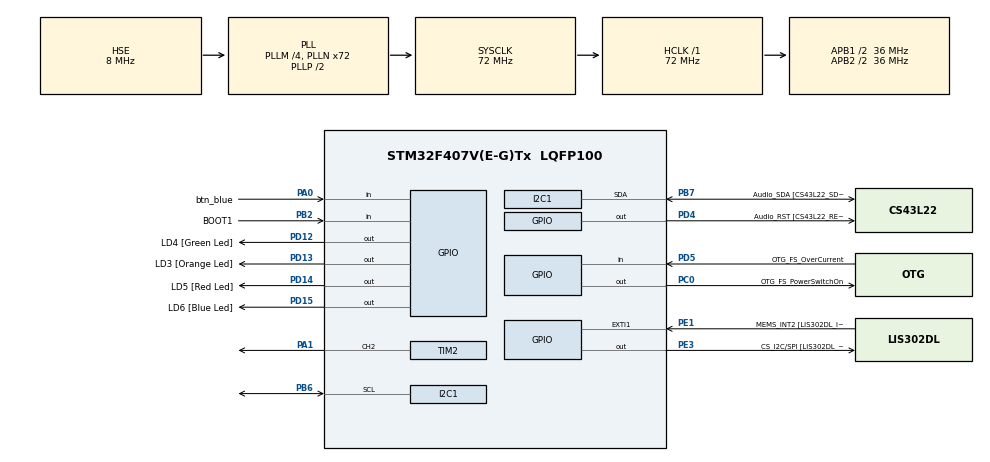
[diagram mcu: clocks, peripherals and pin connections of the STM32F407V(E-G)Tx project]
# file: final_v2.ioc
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Mcu.Family=STM32F4
Mcu.Name=STM32F407V(E-G)Tx
Mcu.Package=LQFP100
NVIC.PriorityGroup=NVIC_PRIORITYGROUP_4
NVIC.TIM7_IRQn=true\:15\:0\:false\:false\:true\:false\:true
NVIC.TimeBase=TIM7_IRQn
NVIC.TimeBaseIP=TIM7
PA0-WKUP.GPIO_Label=btn_blue
PA0-WKUP.Signal=GPIO_Input
PA1.Signal=S_TIM2_CH2
PA10.GPIO_Label=OTG_FS_ID
PA10.GPIO_Mode=GPIO_MODE_AF_PP
PA10.GPIO_PuPd=GPIO_NOPULL
PA10.GPIO_Speed=GPIO_SPEED_FREQ_LOW
PA10.Signal=USB_OTG_FS_ID
PA11.GPIO_Label=OTG_FS_DM
PA11.GPIO_Mode=GPIO_MODE_AF_PP
PA11.GPIO_PuPd=GPIO_NOPULL
PA11.GPIO_Speed=GPIO_SPEED_FREQ_LOW
PA11.Signal=USB_OTG_FS_DM
PA12.GPIO_Label=OTG_FS_DP
PA12.GPIO_Mode=GPIO_MODE_AF_PP
PA12.GPIO_PuPd=GPIO_NOPULL
PA12.GPIO_Speed=GPIO_SPEED_FREQ_LOW
PA12.Signal=USB_OTG_FS_DP
PA13.GPIO_Label=SWDIO
PA13.Mode=Serial_Wire
PA13.Signal=SYS_JTMS-SWDIO
PA14.GPIO_Label=SWCLK
PA14.Mode=Serial_Wire
PA14.Signal=SYS_JTCK-SWCLK
PA4.GPIO_Label=I2S3_WS [CS43L22_LRCK]
PA4.GPIO_Mode=GPIO_MODE_AF_PP
PA4.GPIO_PuPd=GPIO_NOPULL
PA4.GPIO_Speed=GPIO_SPEED_FREQ_LOW
PA4.Signal=I2S3_WS
PA5.GPIO_Label=SPI1_SCK [LIS302DL_SCL/SPC]
PA5.GPIO_Mode=GPIO_MODE_AF_PP
PA5.GPIO_PuPd=GPIO_NOPULL
PA5.GPIO_Speed=GPIO_SPEED_FREQ_LOW
PA5.Signal=SPI1_SCK
PA6.GPIO_Label=SPI1_MISO [LIS302DL_SDO]
PA6.GPIO_Mode=GPIO_MODE_AF_PP
PA6.GPIO_PuPd=GPIO_NOPULL
PA6.GPIO_Speed=GPIO_SPEED_FREQ_LOW
PA6.Signal=SPI1_MISO
PA7.GPIO_Label=SPI1_MOSI [LIS302DL_SDA/SDI/SDO]
PA7.GPIO_Mode=GPIO_MODE_AF_PP
PA7.GPIO_PuPd=GPIO_NOPULL
PA7.GPIO_Speed=GPIO_SPEED_FREQ_LOW
PA7.Signal=SPI1_MOSI
PA9.GPIO_Label=VBUS_FS
PA9.GPIO_Mode=GPIO_MODE_INPUT
PA9.GPIO_PuPd=GPIO_NOPULL
PA9.Signal=USB_OTG_FS_VBUS
PB10.GPIO_Label=CLK_IN [MP45DT02_CLK]
PB10.GPIO_Mode=GPIO_MODE_AF_PP
PB10.GPIO_PuPd=GPIO_NOPULL
PB10.GPIO_Speed=GPIO_SPEED_FREQ_LOW
PB10.Signal=I2S2_CK
PB2.GPIO_Label=BOOT1
PB2.GPIO_Mode=GPIO_MODE_INPUT
PB2.GPIO_PuPd=GPIO_NOPULL
PB2.Signal=GPIO_Input
PB3.GPIO_Label=SWO
PB3.Signal=SYS_JTDO-SWO
PB6.Mode=I2C
PB6.Signal=I2C1_SCL
PB7.GPIO_Label=Audio_SDA [CS43L22_SDA]
PB7.GPIO_Mode=GPIO_MODE_AF_OD
PB7.GPIO_Speed=GPIO_SPEED_FREQ_LOW
PB7.Mode=I2C
PB7.Signal=I2C1_SDA
PC0.GPIO_Label=OTG_FS_PowerSwitchOn
PC0.GPIO_PuPd=GPIO_NOPULL
PC0.GPIO_Speed=GPIO_SPEED_FREQ_LOW
PC0.PinState=GPIO_PIN_SET
PC0.Signal=GPIO_Output
PC10.GPIO_Label=I2S3_SCK [CS43L22_SCLK]
PC10.GPIO_Mode=GPIO_MODE_AF_PP
PC10.GPIO_PuPd=GPIO_NOPULL
PC10.GPIO_Speed=GPIO_SPEED_FREQ_LOW
PC10.Signal=I2S3_CK
PC12.GPIO_Label=I2S3_SD [CS43L22_SDIN]
PC12.GPIO_Mode=GPIO_MODE_AF_PP
PC12.GPIO_PuPd=GPIO_NOPULL
PC12.GPIO_Speed=GPIO_SPEED_FREQ_LOW
PC12.Signal=I2S3_SD
PC14-OSC32_IN.GPIO_Label=PC14-OSC32_IN
PC14-OSC32_IN.Signal=RCC_OSC32_IN
PC15-OSC32_OUT.GPIO_Label=PC15-OSC32_OUT
PC15-OSC32_OUT.Signal=RCC_OSC32_OUT
PC3.GPIO_Label=PDM_OUT [MP45DT02_DOUT]
PC3.GPIO_Mode=GPIO_MODE_AF_PP
PC3.GPIO_PuPd=GPIO_NOPULL
PC3.GPIO_Speed=GPIO_SPEED_FREQ_LOW
PC3.Signal=I2S2_SD
PC7.GPIO_Label=I2S3_MCK [CS43L22_MCLK]
PC7.GPIO_Mode=GPIO_MODE_AF_PP
PC7.GPIO_PuPd=GPIO_NOPULL
PC7.GPIO_Speed=GPIO_SPEED_FREQ_LOW
PC7.Signal=I2S3_MCK
PD12.GPIO_Label=LD4 [Green Led]
PD12.GPIO_PuPd=GPIO_NOPULL
PD12.GPIO_Speed=GPIO_SPEED_FREQ_LOW
PD12.Signal=GPIO_Output
PD13.GPIO_Label=LD3 [Orange Led]
PD13.GPIO_PuPd=GPIO_NOPULL
PD13.GPIO_Speed=GPIO_SPEED_FREQ_LOW
PD13.Signal=GPIO_Output
PD14.GPIO_Label=LD5 [Red Led]
PD14.GPIO_PuPd=GPIO_NOPULL
PD14.GPIO_Speed=GPIO_SPEED_FREQ_LOW
PD14.Signal=GPIO_Output
PD15.GPIO_Label=LD6 [Blue Led]
PD15.GPIO_PuPd=GPIO_NOPULL
PD15.GPIO_Speed=GPIO_SPEED_FREQ_LOW
PD15.Signal=GPIO_Output
PD4.GPIO_Label=Audio_RST [CS43L22_RESET]
PD4.GPIO_PuPd=GPIO_NOPULL
PD4.GPIO_Speed=GPIO_SPEED_FREQ_LOW
PD4.Signal=GPIO_Output
PD5.GPIO_Label=OTG_FS_OverCurrent
PD5.GPIO_Mode=GPIO_MODE_INPUT
PD5.GPIO_PuPd=GPIO_NOPULL
PD5.Signal=GPIO_Input
PE1.GPIO_Label=MEMS_INT2 [LIS302DL_INT2]
PE1.GPIO_ModeDefaultEXTI=GPIO_MODE_EVT_RISING
PE1.GPIO_PuPd=GPIO_NOPULL
PE1.Signal=GPXTI1
PE3.GPIO_Label=CS_I2C/SPI [LIS302DL_CS_I2C/SPI]
PE3.GPIO_PuPd=GPIO_NOPULL
PE3.GPIO_Speed=GPIO_SPEED_FREQ_LOW
PE3.Signal=GPIO_Output
PH0-OSC_IN.GPIO_Label=PH0-OSC_IN
PH0-OSC_IN.Mode=HSE-External-Oscillator
PH0-OSC_IN.Signal=RCC_OSC_IN
PH1-OSC_OUT.GPIO_Label=PH1-OSC_OUT
PH1-OSC_OUT.Mode=HSE-External-Oscillator
PH1-OSC_OUT.Signal=RCC_OSC_OUT
ProjectManager.HeapSize=0x200
ProjectManager.StackSize=0x400
ProjectManager.TargetToolchain=STM32CubeIDE
RCC.48MHZClocksFreq_Value=20571428.57142857
RCC.AHBFreq_Value=72000000
RCC.APB1CLKDivider=RCC_HCLK_DIV2
RCC.APB1Freq_Value=36000000
RCC.APB1TimFreq_Value=72000000
RCC.APB2CLKDivider=RCC_HCLK_DIV2
RCC.APB2Freq_Value=36000000
RCC.APB2TimFreq_Value=72000000
RCC.CortexFreq_Value=72000000
RCC.HCLKFreq_Value=72000000
RCC.HSE_VALUE=8000000
RCC.HSI_VALUE=16000000
RCC.LSE_VALUE=32768
RCC.PLLM=4
RCC.PLLN=72
RCC.PLLQ=7
RCC.PLLSourceVirtual=RCC_PLLSOURCE_HSE
RCC.SYSCLKFreq_VALUE=72000000
RCC.SYSCLKSource=RCC_SYSCLKSOURCE_PLLCLK
RCC.VCOOutputFreq_Value=144000000
SH.S_TIM2_CH2.0=TIM2_CH2,PWM Generation2 CH2
TIM2.Channel-PWM\ Generation2\ CH2=TIM_CHANNEL_2
TIM2.Period=100
TIM2.Prescaler=127
VP_SYS_VS_tim7.Mode=TIM7
VP_TIM2_VS_ClockSourceINT.Mode=Internal
board=STM32F407G-DISC1

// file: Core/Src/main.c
/* USER CODE BEGIN Header */
/**
  ******************************************************************************
  * @file           : main.c
  * @brief          : Main program body
  ******************************************************************************
  * @attention
  *
  * <h2><center>&copy; Copyright (c) 2020 STMicroelectronics.
  * All rights reserved.</center></h2>
  *
  * This software component is licensed by ST under BSD 3-Clause license,
  * the "License"; You may not use this file except in compliance with the
  * License. You may obtain a copy of the License at:
  *                        opensource.org/licenses/BSD-3-Clause
  *
  ******************************************************************************
  */
/* USER CODE END Header */
#include "main.h"

/* USER CODE BEGIN Includes */
#include "i2c-lcd.h"
#include "stdio.h"
#include "stdlib.h"
#include "FreeRTOS.h"
#include "task.h"
#include "queue.h"

/* USER CODE END Includes */

I2C_HandleTypeDef hi2c1;

TIM_HandleTypeDef htim2;

void SystemClock_Config(void);
static void MX_GPIO_Init(void);
static void MX_I2C1_Init(void);
static void MX_TIM2_Init(void);
/* USER CODE BEGIN PFP */
void Time_show(void);
void Buzzer_ring(void);
void Button_click(void);
/* USER CODE END PFP */

/* USER CODE BEGIN 0 */

#define DS3231_ADDRESS 0xD0
QueueHandle_t MsgQueue = NULL;
// Convert normal decimal numbers to binary coded decimal
uint8_t decToBcd(int val)
{
  return (uint8_t)( (val/10*16) + (val%10) );
}
// Convert binary coded decimal to normal decimal numbers
int bcdToDec(uint8_t val)
{
  return (int)( (val/16*10) + (val%16) );
}

typedef struct {
	uint8_t seconds;
	uint8_t minutes;
	uint8_t hour;
	uint8_t dayofweek;
	uint8_t dayofmonth;
	uint8_t month;
	uint8_t year;
} TIME;

TIME time;

// function to set time

void Set_Time (uint8_t sec, uint8_t min, uint8_t hour, uint8_t dow, uint8_t dom, uint8_t month, uint8_t year)
{
	uint8_t set_time[7];
	set_time[0] = decToBcd(sec);
	set_time[1] = decToBcd(min);
	set_time[2] = decToBcd(hour);
	set_time[3] = decToBcd(dow);
	set_time[4] = decToBcd(dom);
	set_time[5] = decToBcd(month);
	set_time[6] = decToBcd(year);

	HAL_I2C_Mem_Write(&hi2c1, DS3231_ADDRESS, 0x00, 1, set_time, 7, 1000);
}

void Get_Time (void)
{
	uint8_t get_time[7];
	HAL_I2C_Mem_Read(&hi2c1, DS3231_ADDRESS, 0x00, 1, get_time, 7, 1000);
	time.seconds = bcdToDec(get_time[0]);
	time.minutes = bcdToDec(get_time[1]);
	time.hour = bcdToDec(get_time[2]);
	time.dayofweek = bcdToDec(get_time[3]);
	time.dayofmonth = bcdToDec(get_time[4]);
	time.month = bcdToDec(get_time[5]);
	time.year = bcdToDec(get_time[6]);
}

int Get_Temp (void)
{
	uint8_t temp[2];

	HAL_I2C_Mem_Read(&hi2c1, DS3231_ADDRESS, 0x11, 1, temp, 2, 1000);
	return ((temp[0])+(temp[1]>>6)/4.0);
}

void force_temp_conv (void)
{
	uint8_t status=0;
	uint8_t control=0;
	HAL_I2C_Mem_Read(&hi2c1, DS3231_ADDRESS, 0x0F, 1, &status, 1, 100);  // read status register
	if (!(status&0x04))
	{
		HAL_I2C_Mem_Read(&hi2c1, DS3231_ADDRESS, 0x0E, 1, &control, 1, 100);  // read control register
		HAL_I2C_Mem_Write(&hi2c1, DS3231_ADDRESS, 0x0E, 1, (uint8_t *)(control|(0x20)), 1, 100);
	}
}

int TEMP;
char buffer[15];

/* USER CODE END 0 */

int main(void)
{

  /* MCU Configuration--------------------------------------------------------*/

  /* Reset of all peripherals, Initializes the Flash interface and the Systick. */
  HAL_Init();

  /* Configure the system clock */
  SystemClock_Config();

  /* Initialize all configured peripherals */
  MX_GPIO_Init();
  MX_I2C1_Init();
  MX_TIM2_Init();
  /* USER CODE BEGIN 2 */
  HAL_TIM_PWM_Start(&htim2, TIM_CHANNEL_2);
  lcd_init ();

  Set_Time(55, 59, 7, 5, 6, 6, 23);
  MsgQueue = xQueueCreate(1, sizeof(unsigned int));

  xTaskCreate(Time_show, "Time_show", 1000, NULL, 1, NULL);
  xTaskCreate(Buzzer_ring, "Buzzer_ring", 1000, NULL, 1, NULL);
  xTaskCreate(Button_click, "Button_click", 1000, NULL, 1, NULL);
  vTaskStartScheduler();
  /* USER CODE END 2 */

  /* Infinite loop */
  while (1)
  {

    /* USER CODE BEGIN 3 */

//	  Get_Time();
//	  if(time.minutes == 0 && time.seconds == 0 )
//	  {
//			  htim2.Instance->CCR1 = 255;
//			  HAL_Delay(500);
//			  htim2.Instance->CCR1 = 0;
//	  }
//
//	  sprintf (buffer, "%02d:%02d:%02d", time.hour, time.minutes, time.seconds);
//	  lcd_put_cur (0,0);
//	  lcd_send_string(buffer);
//
//	  sprintf (buffer, "%02d-%02d-20%02d", time.dayofmonth, time.month, time.year);
//	  lcd_put_cur(1, 0);
//	  lcd_send_string(buffer);
//
//	  force_temp_conv();
//
//	  TEMP = Get_Temp();
//
//	  lcd_put_cur(0, 10);
//
//	  sprintf (buffer, "%d", TEMP);
//
//	  lcd_send_string(buffer);
//
//	  HAL_Delay(500);
  }
  /* USER CODE END 3 */
}

void SystemClock_Config(void)
{
  RCC_OscInitTypeDef RCC_OscInitStruct = {0};
  RCC_ClkInitTypeDef RCC_ClkInitStruct = {0};

  /** Configure the main internal regulator output voltage
  */
  __HAL_RCC_PWR_CLK_ENABLE();
  __HAL_PWR_VOLTAGESCALING_CONFIG(PWR_REGULATOR_VOLTAGE_SCALE1);
  /** Initializes the RCC Oscillators according to the specified parameters
  * in the RCC_OscInitTypeDef structure.
  */
  RCC_OscInitStruct.OscillatorType = RCC_OSCILLATORTYPE_HSE;
  RCC_OscInitStruct.HSEState = RCC_HSE_ON;
  RCC_OscInitStruct.PLL.PLLState = RCC_PLL_ON;
  RCC_OscInitStruct.PLL.PLLSource = RCC_PLLSOURCE_HSE;
  RCC_OscInitStruct.PLL.PLLM = 4;
  RCC_OscInitStruct.PLL.PLLN = 72;
  RCC_OscInitStruct.PLL.PLLP = RCC_PLLP_DIV2;
  RCC_OscInitStruct.PLL.PLLQ = 7;
  if (HAL_RCC_OscConfig(&RCC_OscInitStruct) != HAL_OK)
  {
    Error_Handler();
  }
  /** Initializes the CPU, AHB and APB buses clocks
  */
  RCC_ClkInitStruct.ClockType = RCC_CLOCKTYPE_HCLK|RCC_CLOCKTYPE_SYSCLK
                              |RCC_CLOCKTYPE_PCLK1|RCC_CLOCKTYPE_PCLK2;
  RCC_ClkInitStruct.SYSCLKSource = RCC_SYSCLKSOURCE_PLLCLK;
  RCC_ClkInitStruct.AHBCLKDivider = RCC_SYSCLK_DIV1;
  RCC_ClkInitStruct.APB1CLKDivider = RCC_HCLK_DIV2;
  RCC_ClkInitStruct.APB2CLKDivider = RCC_HCLK_DIV2;

  if (HAL_RCC_ClockConfig(&RCC_ClkInitStruct, FLASH_LATENCY_2) != HAL_OK)
  {
    Error_Handler();
  }
}

static void MX_I2C1_Init(void)
{

  hi2c1.Instance = I2C1;
  hi2c1.Init.ClockSpeed = 100000;
  hi2c1.Init.DutyCycle = I2C_DUTYCYCLE_2;
  hi2c1.Init.OwnAddress1 = 0;
  hi2c1.Init.AddressingMode = I2C_ADDRESSINGMODE_7BIT;
  hi2c1.Init.DualAddressMode = I2C_DUALADDRESS_DISABLE;
  hi2c1.Init.OwnAddress2 = 0;
  hi2c1.Init.GeneralCallMode = I2C_GENERALCALL_DISABLE;
  hi2c1.Init.NoStretchMode = I2C_NOSTRETCH_DISABLE;
  if (HAL_I2C_Init(&hi2c1) != HAL_OK)
  {
    Error_Handler();
  }

}

static void MX_TIM2_Init(void)
{

  TIM_ClockConfigTypeDef sClockSourceConfig = {0};
  TIM_MasterConfigTypeDef sMasterConfig = {0};
  TIM_OC_InitTypeDef sConfigOC = {0};

  htim2.Instance = TIM2;
  htim2.Init.Prescaler = 127;
  htim2.Init.CounterMode = TIM_COUNTERMODE_UP;
  htim2.Init.Period = 100;
  htim2.Init.ClockDivision = TIM_CLOCKDIVISION_DIV1;
  htim2.Init.AutoReloadPreload = TIM_AUTORELOAD_PRELOAD_DISABLE;
  if (HAL_TIM_Base_Init(&htim2) != HAL_OK)
  {
    Error_Handler();
  }
  sClockSourceConfig.ClockSource = TIM_CLOCKSOURCE_INTERNAL;
  if (HAL_TIM_ConfigClockSource(&htim2, &sClockSourceConfig) != HAL_OK)
  {
    Error_Handler();
  }
  if (HAL_TIM_PWM_Init(&htim2) != HAL_OK)
  {
    Error_Handler();
  }
  sMasterConfig.MasterOutputTrigger = TIM_TRGO_RESET;
  sMasterConfig.MasterSlaveMode = TIM_MASTERSLAVEMODE_DISABLE;
  if (HAL_TIMEx_MasterConfigSynchronization(&htim2, &sMasterConfig) != HAL_OK)
  {
    Error_Handler();
  }
  sConfigOC.OCMode = TIM_OCMODE_PWM1;
  sConfigOC.Pulse = 0;
  sConfigOC.OCPolarity = TIM_OCPOLARITY_HIGH;
  sConfigOC.OCFastMode = TIM_OCFAST_DISABLE;
  if (HAL_TIM_PWM_ConfigChannel(&htim2, &sConfigOC, TIM_CHANNEL_2) != HAL_OK)
  {
    Error_Handler();
  }
  HAL_TIM_MspPostInit(&htim2);

}

static void MX_GPIO_Init(void)
{
  GPIO_InitTypeDef GPIO_InitStruct = {0};

  /* GPIO Ports Clock Enable */
  __HAL_RCC_GPIOE_CLK_ENABLE();
  __HAL_RCC_GPIOC_CLK_ENABLE();
  __HAL_RCC_GPIOH_CLK_ENABLE();
  __HAL_RCC_GPIOA_CLK_ENABLE();
  __HAL_RCC_GPIOB_CLK_ENABLE();
  __HAL_RCC_GPIOD_CLK_ENABLE();

  /*Configure GPIO pin Output Level */
  HAL_GPIO_WritePin(CS_I2C_SPI_GPIO_Port, CS_I2C_SPI_Pin, GPIO_PIN_RESET);

  /*Configure GPIO pin Output Level */
  HAL_GPIO_WritePin(OTG_FS_PowerSwitchOn_GPIO_Port, OTG_FS_PowerSwitchOn_Pin, GPIO_PIN_SET);

  /*Configure GPIO pin Output Level */
  HAL_GPIO_WritePin(GPIOD, LD4_Pin|LD3_Pin|LD5_Pin|LD6_Pin
                          |Audio_RST_Pin, GPIO_PIN_RESET);

  /*Configure GPIO pin : CS_I2C_SPI_Pin */
  GPIO_InitStruct.Pin = CS_I2C_SPI_Pin;
  GPIO_InitStruct.Mode = GPIO_MODE_OUTPUT_PP;
  GPIO_InitStruct.Pull = GPIO_NOPULL;
  GPIO_InitStruct.Speed = GPIO_SPEED_FREQ_LOW;
  HAL_GPIO_Init(CS_I2C_SPI_GPIO_Port, &GPIO_InitStruct);

  /*Configure GPIO pin : OTG_FS_PowerSwitchOn_Pin */
  GPIO_InitStruct.Pin = OTG_FS_PowerSwitchOn_Pin;
  GPIO_InitStruct.Mode = GPIO_MODE_OUTPUT_PP;
  GPIO_InitStruct.Pull = GPIO_NOPULL;
  GPIO_InitStruct.Speed = GPIO_SPEED_FREQ_LOW;
  HAL_GPIO_Init(OTG_FS_PowerSwitchOn_GPIO_Port, &GPIO_InitStruct);

  /*Configure GPIO pin : PDM_OUT_Pin */
  GPIO_InitStruct.Pin = PDM_OUT_Pin;
  GPIO_InitStruct.Mode = GPIO_MODE_AF_PP;
  GPIO_InitStruct.Pull = GPIO_NOPULL;
  GPIO_InitStruct.Speed = GPIO_SPEED_FREQ_LOW;
  GPIO_InitStruct.Alternate = GPIO_AF5_SPI2;
  HAL_GPIO_Init(PDM_OUT_GPIO_Port, &GPIO_InitStruct);

  /*Configure GPIO pin : btn_blue_Pin */
  GPIO_InitStruct.Pin = btn_blue_Pin;
  GPIO_InitStruct.Mode = GPIO_MODE_INPUT;
  GPIO_InitStruct.Pull = GPIO_NOPULL;
  HAL_GPIO_Init(btn_blue_GPIO_Port, &GPIO_InitStruct);

  /*Configure GPIO pin : I2S3_WS_Pin */
  GPIO_InitStruct.Pin = I2S3_WS_Pin;
  GPIO_InitStruct.Mode = GPIO_MODE_AF_PP;
  GPIO_InitStruct.Pull = GPIO_NOPULL;
  GPIO_InitStruct.Speed = GPIO_SPEED_FREQ_LOW;
  GPIO_InitStruct.Alternate = GPIO_AF6_SPI3;
  HAL_GPIO_Init(I2S3_WS_GPIO_Port, &GPIO_InitStruct);

  /*Configure GPIO pins : SPI1_SCK_Pin SPI1_MISO_Pin SPI1_MOSI_Pin */
  GPIO_InitStruct.Pin = SPI1_SCK_Pin|SPI1_MISO_Pin|SPI1_MOSI_Pin;
  GPIO_InitStruct.Mode = GPIO_MODE_AF_PP;
  GPIO_InitStruct.Pull = GPIO_NOPULL;
  GPIO_InitStruct.Speed = GPIO_SPEED_FREQ_LOW;
  GPIO_InitStruct.Alternate = GPIO_AF5_SPI1;
  HAL_GPIO_Init(GPIOA, &GPIO_InitStruct);

  /*Configure GPIO pin : BOOT1_Pin */
  GPIO_InitStruct.Pin = BOOT1_Pin;
  GPIO_InitStruct.Mode = GPIO_MODE_INPUT;
  GPIO_InitStruct.Pull = GPIO_NOPULL;
  HAL_GPIO_Init(BOOT1_GPIO_Port, &GPIO_InitStruct);

  /*Configure GPIO pin : CLK_IN_Pin */
  GPIO_InitStruct.Pin = CLK_IN_Pin;
  GPIO_InitStruct.Mode = GPIO_MODE_AF_PP;
  GPIO_InitStruct.Pull = GPIO_NOPULL;
  GPIO_InitStruct.Speed = GPIO_SPEED_FREQ_LOW;
  GPIO_InitStruct.Alternate = GPIO_AF5_SPI2;
  HAL_GPIO_Init(CLK_IN_GPIO_Port, &GPIO_InitStruct);

  /*Configure GPIO pins : LD4_Pin LD3_Pin LD5_Pin LD6_Pin
                           Audio_RST_Pin */
  GPIO_InitStruct.Pin = LD4_Pin|LD3_Pin|LD5_Pin|LD6_Pin
                          |Audio_RST_Pin;
  GPIO_InitStruct.Mode = GPIO_MODE_OUTPUT_PP;
  GPIO_InitStruct.Pull = GPIO_NOPULL;
  GPIO_InitStruct.Speed = GPIO_SPEED_FREQ_LOW;
  HAL_GPIO_Init(GPIOD, &GPIO_InitStruct);

  /*Configure GPIO pins : I2S3_MCK_Pin I2S3_SCK_Pin I2S3_SD_Pin */
  GPIO_InitStruct.Pin = I2S3_MCK_Pin|I2S3_SCK_Pin|I2S3_SD_Pin;
  GPIO_InitStruct.Mode = GPIO_MODE_AF_PP;
  GPIO_InitStruct.Pull = GPIO_NOPULL;
  GPIO_InitStruct.Speed = GPIO_SPEED_FREQ_LOW;
  GPIO_InitStruct.Alternate = GPIO_AF6_SPI3;
  HAL_GPIO_Init(GPIOC, &GPIO_InitStruct);

  /*Configure GPIO pin : VBUS_FS_Pin */
  GPIO_InitStruct.Pin = VBUS_FS_Pin;
  GPIO_InitStruct.Mode = GPIO_MODE_INPUT;
  GPIO_InitStruct.Pull = GPIO_NOPULL;
  HAL_GPIO_Init(VBUS_FS_GPIO_Port, &GPIO_InitStruct);

  /*Configure GPIO pins : OTG_FS_ID_Pin OTG_FS_DM_Pin OTG_FS_DP_Pin */
  GPIO_InitStruct.Pin = OTG_FS_ID_Pin|OTG_FS_DM_Pin|OTG_FS_DP_Pin;
  GPIO_InitStruct.Mode = GPIO_MODE_AF_PP;
  GPIO_InitStruct.Pull = GPIO_NOPULL;
  GPIO_InitStruct.Speed = GPIO_SPEED_FREQ_LOW;
  GPIO_InitStruct.Alternate = GPIO_AF10_OTG_FS;
  HAL_GPIO_Init(GPIOA, &GPIO_InitStruct);

  /*Configure GPIO pin : OTG_FS_OverCurrent_Pin */
  GPIO_InitStruct.Pin = OTG_FS_OverCurrent_Pin;
  GPIO_InitStruct.Mode = GPIO_MODE_INPUT;
  GPIO_InitStruct.Pull = GPIO_NOPULL;
  HAL_GPIO_Init(OTG_FS_OverCurrent_GPIO_Port, &GPIO_InitStruct);

  /*Configure GPIO pin : MEMS_INT2_Pin */
  GPIO_InitStruct.Pin = MEMS_INT2_Pin;
  GPIO_InitStruct.Mode = GPIO_MODE_EVT_RISING;
  GPIO_InitStruct.Pull = GPIO_NOPULL;
  HAL_GPIO_Init(MEMS_INT2_GPIO_Port, &GPIO_InitStruct);

}

/* USER CODE BEGIN 4 */
void Time_show(void)
{
	while(1)
	{
		unsigned int task = 0;
		Get_Time();
		if(time.minutes == 0 && time.seconds == 0 )
		{
			  task = 1;
			  xQueueSend(MsgQueue,(int *) &task, 1);
		}
		if(time.minutes == 30 && time.seconds == 0 && time.hour == 7 )
		{
			  task = 2;
			  xQueueSend(MsgQueue,(int *) &task, 1);
		}
		sprintf (buffer, "%02d:%02d:%02d", time.hour, time.minutes, time.seconds);
		lcd_put_cur (0,0);
		lcd_send_string(buffer);

		sprintf (buffer, "%02d-%02d-20%02d", time.dayofmonth, time.month, time.year);
		lcd_put_cur(1, 0);
		lcd_send_string(buffer);

		force_temp_conv();

		TEMP = Get_Temp();

		lcd_put_cur(0, 10);

		sprintf (buffer, "%d", TEMP);

		lcd_send_string(buffer);

		HAL_Delay(500);
	}

}

void Buzzer_ring(void)
{
	unsigned int rcv = 0;
	for(;;)
	{
		while(rcv == 0)
		{
			xQueueReceive(MsgQueue, &rcv, 5000);
			if(rcv == 1) break;
		}
		if(rcv == 1)
		{
			for(int i=0;i<2;i++)
			{
				htim2.Instance->CCR2 = 255;
				HAL_Delay(300);
				htim2.Instance->CCR2 = 0;
				HAL_Delay(300);
			}
			rcv = 0;
		}
		while(rcv == 2)
		{
			xQueueReceive(MsgQueue, &rcv, 1000);
			if(rcv == 0) break;
			htim2.Instance->CCR2 = 255;
			HAL_Delay(500);
			htim2.Instance->CCR2 = 0;
			HAL_Delay(500);

		}
	}
}

void Button_click(void)
{
	unsigned int task = 1;
	unsigned int count = 1;
	for(;;)
	{
		if(HAL_GPIO_ReadPin(btn_blue_GPIO_Port, GPIO_PIN_0)){
			HAL_Delay(10);
			while(HAL_GPIO_ReadPin(btn_blue_GPIO_Port, GPIO_PIN_0))
			{;}
			++count;
			if(count & 0x01) task = 0;
			else task = 0;
			xQueueSend(MsgQueue,(int *) &task, 1);
			taskYIELD();
		}
	}
}
/* USER CODE END 4 */

void HAL_TIM_PeriodElapsedCallback(TIM_HandleTypeDef *htim)
{
  if (htim->Instance == TIM7) {
    HAL_IncTick();
  }
}

void Error_Handler(void)
{
  __disable_irq();
  while (1)
  {
  }
}
